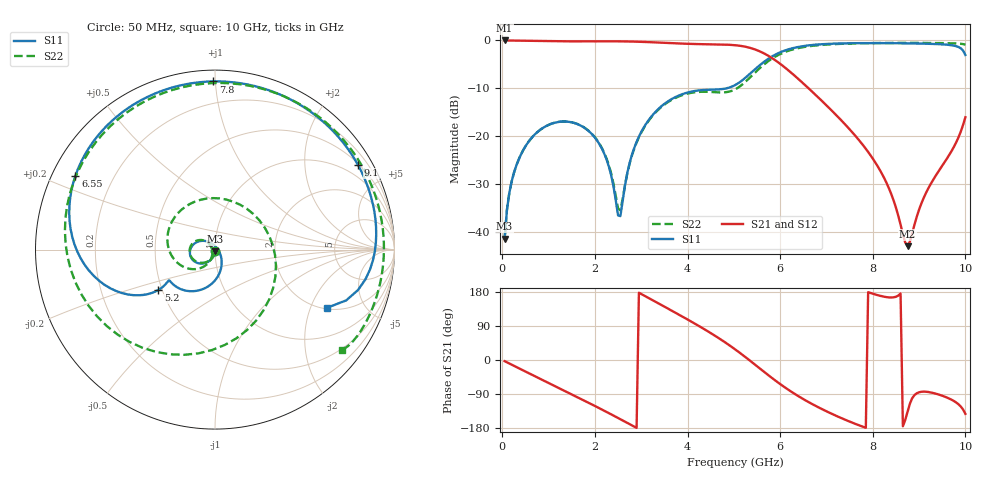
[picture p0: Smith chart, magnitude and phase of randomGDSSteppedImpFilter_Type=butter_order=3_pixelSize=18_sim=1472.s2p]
! freq	dB(S11)	phase(S11)	dB(S12)	phase(S12)
!  dB(S21)	phase(S21)	dB(S22)	phase(S22)
!S-par simulation data
#  GHz  S  DB  R 50
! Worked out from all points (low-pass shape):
!   200 points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, 50 MHz to 10 GHz, reference 50 ohm
!   highest |S21| = 0.00 dB at 50 MHz (marker M1); lowest = -43.1 dB at 8.75 GHz (marker M2)
!   |S21| within 3 dB of the highest: start of sweep to 5.708 GHz
!   lowest |S11| = -41.5 dB at 50 MHz (marker M3), VSWR 1.02, Z = 50 - j0.84 ohm
!   |S11| at or under -10 dB: start of sweep to 4.852 GHz
!   |S22| runs from -41.5 to -0.5 dB; largest |S21 - S12| = 0
!   S11 on the Smith chart (normalised r, x): 50 MHz: 1.00, -0.02; 5.2 GHz: 0.48, -0.25; 6.55 GHz: 0.07, +0.25; 7.8 GHz: 0.06, +0.99; 9.1 GHz: 0.54, +3.57; 10 GHz: 2.06, -2.64
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0.05  -41.50 -92.2  -0.00 -3.1  -0.00 -3.1  -41.50 -92.4
0.2  -29.61 -100.9  -0.03 -12.3  -0.03 -12.3  -29.61 -101.9
0.55  -21.43 -122.5  -0.08 -33.4  -0.08 -33.4  -21.43 -125.1
1.75  -18.14 166.7  -0.19 -105.8  -0.19 -105.8  -18.11 160.6
2.2  -23.66 135.0  -0.18 -133.8  -0.18 -133.8  -23.51 137.4
2.55  -36.78 16.4  -0.19 -156.2  -0.19 -156.2  -35.57 -157.1
2.85  -22.49 -60.4  -0.25 -175.9  -0.25 -175.9  -22.62 -115.1
3.4  -14.08 -97.4  -0.45 147.6  -0.45 147.6  -14.22 -149.1
4.3  -10.41 -138.7  -0.78 85.8  -0.78 85.8  -10.75 130.4
5.05  -9.22 -144.7  -1.02 26.1  -1.02 26.1  -10.13 14.3
5.2  -8.21 -144.5  -1.22 12.4  -1.22 12.4  -9.09 -14.8
5.8  -3.50 -164.9  -3.54 -45.3  -3.54 -45.3  -3.95 -113.1
6.2  -1.80 171.9  -6.44 -80.4  -6.44 -80.4  -2.09 -161.7
6.55  -1.11 152.1  -9.45 -106.7  -9.45 -106.7  -1.32 163.7
6.7  -0.94 144.1  -10.80 -116.8  -10.80 -116.8  -1.12 150.6
7.25  -0.64 116.5  -16.02 -149.5  -16.02 -149.5  -0.74 108.2
7.8  -0.56 90.6  -22.05 -176.7  -22.05 -176.7  -0.59 72.1
8.35  -0.57 65.3  -30.98 165.2  -30.98 165.2  -0.53 40.2
8.75  -0.61 47.0  -43.06 -136.7  -43.06 -136.7  -0.51 19.2
9.1  -0.67 30.6  -32.95 -83.4  -32.95 -83.4  -0.52 2.2
9.7  -1.01 -0.6  -23.18 -104.7  -23.18 -104.7  -0.59 -24.7
10  -3.04 -27.4  -16.08 -142.1  -16.08 -142.1  -0.88 -38.2
